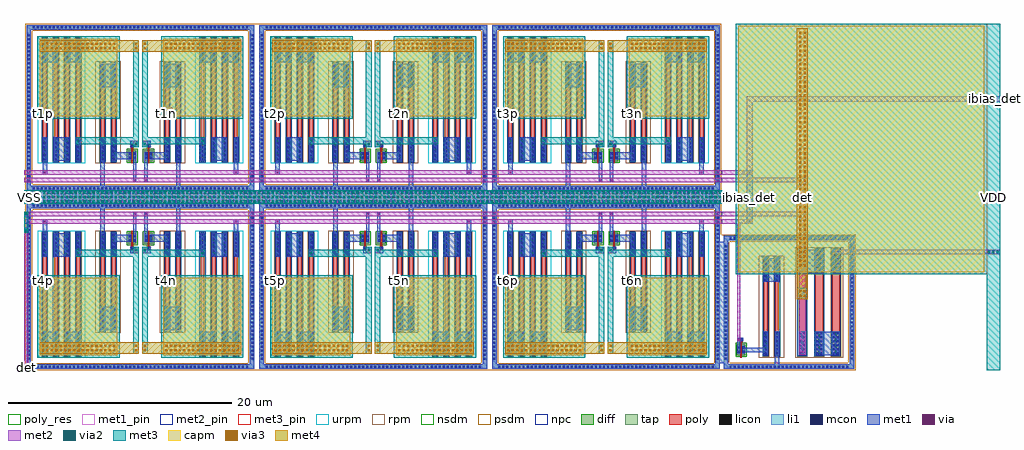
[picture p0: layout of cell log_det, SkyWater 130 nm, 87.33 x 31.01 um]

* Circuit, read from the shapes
.subckt log_det VDD VSS det ibias_det t1n t1p t2n t2p t3n t3p t4n t4p t5n t5p t6n t6p
XM1 det det_cell_1/gp det_cell_1/sp VSS sky130_fd_pr__nfet_01v8 w=1 l=0.15
XM2 det det_cell_0/gp det_cell_0/sp VSS sky130_fd_pr__nfet_01v8 w=1 l=0.15
XM3 det_cell_1/sn det_cell_1/gn det VSS sky130_fd_pr__nfet_01v8 w=1 l=0.15
XM4 det_cell_0/sn det_cell_0/gn det VSS sky130_fd_pr__nfet_01v8 w=1 l=0.15
XM5 det det_cell_3/gp det_cell_3/sp VSS sky130_fd_pr__nfet_01v8 w=1 l=0.15
XM6 det det_cell_2/gp det_cell_2/sp VSS sky130_fd_pr__nfet_01v8 w=1 l=0.15
XM7 det_cell_3/sn det_cell_3/gn det VSS sky130_fd_pr__nfet_01v8 w=1 l=0.15
XM8 det_cell_2/sn det_cell_2/gn det VSS sky130_fd_pr__nfet_01v8 w=1 l=0.15
XM9 det det_cell_5/gp det_cell_5/sp VSS sky130_fd_pr__nfet_01v8 w=1 l=0.15
XM10 det det_cell_4/gp det_cell_4/sp VSS sky130_fd_pr__nfet_01v8 w=1 l=0.15
XM11 det_cell_5/sn det_cell_5/gn det VSS sky130_fd_pr__nfet_01v8 w=1 l=0.15
XM12 det_cell_4/sn det_cell_4/gn det VSS sky130_fd_pr__nfet_01v8 w=1 l=0.15
XM13 n1 ibias_det ibias_det VSS sky130_fd_pr__nfet_01v8 w=1 l=0.15
XC14 det_cell_1/gp t4p sky130_fd_pr__cap_mim_m3_1 w=6.965 l=6.965
XC15 det_cell_0/gp t1p sky130_fd_pr__cap_mim_m3_1 w=6.965 l=6.965
XC16 det_cell_1/gn t4n sky130_fd_pr__cap_mim_m3_1 w=6.965 l=6.965
XC17 det_cell_0/gn t1n sky130_fd_pr__cap_mim_m3_1 w=6.965 l=6.965
XC18 det_cell_3/gp t5p sky130_fd_pr__cap_mim_m3_1 w=6.965 l=6.965
XC19 det_cell_2/gp t2p sky130_fd_pr__cap_mim_m3_1 w=6.965 l=6.965
XC20 det_cell_3/gn t5n sky130_fd_pr__cap_mim_m3_1 w=6.965 l=6.965
XC21 det_cell_2/gn t2n sky130_fd_pr__cap_mim_m3_1 w=6.965 l=6.965
XC22 det_cell_5/gp t6p sky130_fd_pr__cap_mim_m3_1 w=6.965 l=6.965
XC23 det_cell_4/gp t3p sky130_fd_pr__cap_mim_m3_1 w=6.965 l=6.965
XC24 det_cell_5/gn t6n sky130_fd_pr__cap_mim_m3_1 w=6.965 l=6.965
XC25 det_cell_4/gn t3n sky130_fd_pr__cap_mim_m3_1 w=6.965 l=6.965
XC26 det VDD sky130_fd_pr__cap_mim_m3_1 w=22.035 l=22.035
XR27 ibias_det n2 VSS sky130_fd_pr__res_xhigh_po w=0.35 l=6.66
XR28 n3 ibias_det VSS sky130_fd_pr__res_xhigh_po w=0.35 l=6.66
XR29 n4 n2 VSS sky130_fd_pr__res_xhigh_po w=0.35 l=6.66
XR30 n3 n5 VSS sky130_fd_pr__res_xhigh_po w=0.35 l=6.66
XR31 n4 n6 VSS sky130_fd_pr__res_xhigh_po w=0.35 l=6.66
XR32 n7 n5 VSS sky130_fd_pr__res_xhigh_po w=0.35 l=6.66
XR33 det_cell_1/gp n6 VSS sky130_fd_pr__res_xhigh_po w=0.35 l=6.66
XR34 n7 det_cell_0/gp VSS sky130_fd_pr__res_xhigh_po w=0.35 l=6.66
XR35 VSS n8 VSS sky130_fd_pr__res_high_po w=0.35 l=4.42
XR36 n9 VSS VSS sky130_fd_pr__res_high_po w=0.35 l=4.42
XR37 det_cell_1/sp n8 VSS sky130_fd_pr__res_high_po w=0.35 l=4.42
XR38 n9 det_cell_0/sp VSS sky130_fd_pr__res_high_po w=0.35 l=4.42
XR39 det_cell_1/sn n10 VSS sky130_fd_pr__res_high_po w=0.35 l=4.42
XR40 n11 det_cell_0/sn VSS sky130_fd_pr__res_high_po w=0.35 l=4.42
XR41 VSS n10 VSS sky130_fd_pr__res_high_po w=0.35 l=4.42
XR42 n11 VSS VSS sky130_fd_pr__res_high_po w=0.35 l=4.42
XR43 det_cell_1/gn n12 VSS sky130_fd_pr__res_xhigh_po w=0.35 l=6.66
XR44 n13 det_cell_0/gn VSS sky130_fd_pr__res_xhigh_po w=0.35 l=6.66
XR45 n14 n12 VSS sky130_fd_pr__res_xhigh_po w=0.35 l=6.66
XR46 n13 n15 VSS sky130_fd_pr__res_xhigh_po w=0.35 l=6.66
XR47 n14 n16 VSS sky130_fd_pr__res_xhigh_po w=0.35 l=6.66
XR48 n17 n15 VSS sky130_fd_pr__res_xhigh_po w=0.35 l=6.66
XR49 ibias_det n16 VSS sky130_fd_pr__res_xhigh_po w=0.35 l=6.66
XR50 n17 ibias_det VSS sky130_fd_pr__res_xhigh_po w=0.35 l=6.66
XR51 ibias_det n18 VSS sky130_fd_pr__res_xhigh_po w=0.35 l=6.66
XR52 n19 ibias_det VSS sky130_fd_pr__res_xhigh_po w=0.35 l=6.66
XR53 n20 n18 VSS sky130_fd_pr__res_xhigh_po w=0.35 l=6.66
XR54 n19 n21 VSS sky130_fd_pr__res_xhigh_po w=0.35 l=6.66
XR55 n20 n22 VSS sky130_fd_pr__res_xhigh_po w=0.35 l=6.66
XR56 n23 n21 VSS sky130_fd_pr__res_xhigh_po w=0.35 l=6.66
XR57 det_cell_3/gp n22 VSS sky130_fd_pr__res_xhigh_po w=0.35 l=6.66
XR58 n23 det_cell_2/gp VSS sky130_fd_pr__res_xhigh_po w=0.35 l=6.66
XR59 VSS n24 VSS sky130_fd_pr__res_high_po w=0.35 l=4.42
XR60 n25 VSS VSS sky130_fd_pr__res_high_po w=0.35 l=4.42
XR61 det_cell_3/sp n24 VSS sky130_fd_pr__res_high_po w=0.35 l=4.42
XR62 n25 det_cell_2/sp VSS sky130_fd_pr__res_high_po w=0.35 l=4.42
XR63 det_cell_3/sn n26 VSS sky130_fd_pr__res_high_po w=0.35 l=4.42
XR64 n27 det_cell_2/sn VSS sky130_fd_pr__res_high_po w=0.35 l=4.42
XR65 VSS n26 VSS sky130_fd_pr__res_high_po w=0.35 l=4.42
XR66 n27 VSS VSS sky130_fd_pr__res_high_po w=0.35 l=4.42
XR67 det_cell_3/gn n28 VSS sky130_fd_pr__res_xhigh_po w=0.35 l=6.66
XR68 n29 det_cell_2/gn VSS sky130_fd_pr__res_xhigh_po w=0.35 l=6.66
XR69 n30 n28 VSS sky130_fd_pr__res_xhigh_po w=0.35 l=6.66
XR70 n29 n31 VSS sky130_fd_pr__res_xhigh_po w=0.35 l=6.66
XR71 n30 n32 VSS sky130_fd_pr__res_xhigh_po w=0.35 l=6.66
XR72 n33 n31 VSS sky130_fd_pr__res_xhigh_po w=0.35 l=6.66
XR73 ibias_det n32 VSS sky130_fd_pr__res_xhigh_po w=0.35 l=6.66
XR74 n33 ibias_det VSS sky130_fd_pr__res_xhigh_po w=0.35 l=6.66
XR75 ibias_det n34 VSS sky130_fd_pr__res_xhigh_po w=0.35 l=6.66
XR76 n35 ibias_det VSS sky130_fd_pr__res_xhigh_po w=0.35 l=6.66
XR77 n36 n34 VSS sky130_fd_pr__res_xhigh_po w=0.35 l=6.66
XR78 n35 n37 VSS sky130_fd_pr__res_xhigh_po w=0.35 l=6.66
XR79 n36 n38 VSS sky130_fd_pr__res_xhigh_po w=0.35 l=6.66
XR80 n39 n37 VSS sky130_fd_pr__res_xhigh_po w=0.35 l=6.66
XR81 det_cell_5/gp n38 VSS sky130_fd_pr__res_xhigh_po w=0.35 l=6.66
XR82 n39 det_cell_4/gp VSS sky130_fd_pr__res_xhigh_po w=0.35 l=6.66
XR83 VSS n40 VSS sky130_fd_pr__res_high_po w=0.35 l=4.42
XR84 n41 VSS VSS sky130_fd_pr__res_high_po w=0.35 l=4.42
XR85 det_cell_5/sp n40 VSS sky130_fd_pr__res_high_po w=0.35 l=4.42
XR86 n41 det_cell_4/sp VSS sky130_fd_pr__res_high_po w=0.35 l=4.42
XR87 det_cell_5/sn n42 VSS sky130_fd_pr__res_high_po w=0.35 l=4.42
XR88 n43 det_cell_4/sn VSS sky130_fd_pr__res_high_po w=0.35 l=4.42
XR89 VSS n42 VSS sky130_fd_pr__res_high_po w=0.35 l=4.42
XR90 n43 VSS VSS sky130_fd_pr__res_high_po w=0.35 l=4.42
XR91 det_cell_5/gn n44 VSS sky130_fd_pr__res_xhigh_po w=0.35 l=6.66
XR92 n45 det_cell_4/gn VSS sky130_fd_pr__res_xhigh_po w=0.35 l=6.66
XR93 n46 n44 VSS sky130_fd_pr__res_xhigh_po w=0.35 l=6.66
XR94 n45 n47 VSS sky130_fd_pr__res_xhigh_po w=0.35 l=6.66
XR95 n46 n48 VSS sky130_fd_pr__res_xhigh_po w=0.35 l=6.66
XR96 n49 n47 VSS sky130_fd_pr__res_xhigh_po w=0.35 l=6.66
XR97 ibias_det n48 VSS sky130_fd_pr__res_xhigh_po w=0.35 l=6.66
XR98 n49 ibias_det VSS sky130_fd_pr__res_xhigh_po w=0.35 l=6.66
XR99 n50 n1 VSS sky130_fd_pr__res_high_po w=0.35 l=4.42
XR100 n50 VSS VSS sky130_fd_pr__res_high_po w=0.35 l=4.42
XR101 n51 det VSS sky130_fd_pr__res_high_po w=0.69 l=5.17
XR102 n51 n52 VSS sky130_fd_pr__res_high_po w=0.69 l=5.17
XR103 VDD n52 VSS sky130_fd_pr__res_high_po w=0.69 l=5.17
.ends

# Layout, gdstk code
import gdstk
lib = gdstk.Library(unit=1e-6, precision=1e-09)
def R(c, l, rs):  # rectangles x0, y0, x1, y1
    for r in rs: c.add(gdstk.rectangle(r[:2], r[2:], *l))
def A(c, l, x, y, w, h, nx, ny, dx, dy):  # array of equal rectangles
    R(c, l, [(x+i*dx, y+j*dy, x+i*dx+w, y+j*dy+h) for i in range(nx) for j in range(ny)])
def P(c, l, *ps):  # polygons
    for p in ps: c.add(gdstk.Polygon(p, *l))
diff = (65, 20)
tap = (65, 44)
poly_res = (66, 13)
poly = (66, 20)
licon = (66, 44)
li1 = (67, 20)
mcon = (67, 44)
met1_pin = (68, 16)
met1 = (68, 20)
via = (68, 44)
met2_pin = (69, 16)
met2 = (69, 20)
via2 = (69, 44)
met3_pin = (70, 16)
met3 = (70, 20)
via3 = (70, 44)
met4 = (71, 20)
urpm = (79, 20)
rpm = (86, 20)
capm = (89, 44)
nsdm = (93, 44)
psdm = (94, 20)
npc = (95, 20)

res_poly = lib.new_cell('res_poly')
R(res_poly, poly_res, [(-0.175,-3.39,0.175,3.39)])
R(res_poly, poly, [(-0.175,-5.49,0.175,5.49)])
R(res_poly, licon, [(-0.095,-5.41,0.095,-3.41), (-0.095,3.41,0.095,5.41)])
R(res_poly, li1, [(-0.175,-5.49,0.175,-3.33), (-0.175,3.33,0.175,5.49)])
A(res_poly, mcon, -0.085, -5.39, 0.17, 0.17, 1, 6, 0, 0.36)
A(res_poly, mcon, -0.085, 3.425, 0.17, 0.17, 1, 6, 0, 0.36)
R(res_poly, met1, [(-0.125,-5.455,0.125,-3.355), (-0.125,3.355,0.125,5.455)])
R(res_poly, urpm, [(-0.635,-5.69,0.635,5.69)])
R(res_poly, psdm, [(-0.285,-5.6,0.285,5.6)])
R(res_poly, npc, [(-0.27,-5.58,0.27,5.58)])

res_poly_1 = lib.new_cell('res_poly$1')
R(res_poly_1, poly_res, [(-0.175,-2.27,0.175,2.27)])
R(res_poly_1, poly, [(-0.175,-4.37,0.175,4.37)])
R(res_poly_1, licon, [(-0.095,-4.29,0.095,-2.29), (-0.095,2.29,0.095,4.29)])
R(res_poly_1, li1, [(-0.175,-4.37,0.175,-2.21), (-0.175,2.21,0.175,4.37)])
A(res_poly_1, mcon, -0.085, -4.27, 0.17, 0.17, 1, 6, 0, 0.36)
A(res_poly_1, mcon, -0.085, 2.305, 0.17, 0.17, 1, 6, 0, 0.36)
R(res_poly_1, met1, [(-0.125,-4.34,0.125,-2.235), (-0.125,2.235,0.125,4.34)])
R(res_poly_1, rpm, [(-0.635,-4.57,0.635,4.57)])
R(res_poly_1, psdm, [(-0.285,-4.48,0.285,4.48)])
R(res_poly_1, npc, [(-0.27,-4.465,0.27,4.465)])

nfet = lib.new_cell('nfet')
R(nfet, diff, [(0,0,0.75,1)])
R(nfet, poly, [(0.3,-0.2,0.45,1.2), (0.24,1.2,0.51,1.53)])
R(nfet, licon, [(0.065,0.235,0.235,0.405), (0.515,0.235,0.685,0.405), (0.065,0.595,0.235,0.765), (0.515,0.595,0.685,0.765), (0.29,1.28,0.46,1.45)])
R(nfet, li1, [(0.065,0.155,0.235,0.845), (0.515,0.155,0.685,0.845), (0.21,1.28,0.54,1.45)])
R(nfet, mcon, [(0.065,0.235,0.235,0.405), (0.515,0.235,0.685,0.405), (0.065,0.595,0.235,0.765), (0.515,0.595,0.685,0.765), (0.29,1.28,0.46,1.45)])
R(nfet, met1, [(0.035,0.175,0.265,0.825), (0.485,0.175,0.715,0.825), (0.19,1.25,0.56,1.48)])
R(nfet, nsdm, [(-0.125,-0.125,0.875,1.125)])
R(nfet, npc, [(0.23,1.19,0.52,1.54)])

det_cell = lib.new_cell('det_cell')
P(det_cell, tap, [(0.225,1.2),(0.225,15.58),(0.625,15.58),(0.625,1.6),(20.205,1.6),(20.205,15.58),(0.225,15.58),(0.225,15.98),(20.605,15.98),(20.605,1.2)])
A(det_cell, licon, 0.79, 1.315, 0.17, 0.17, 54, 2, 0.36, 14.38)
A(det_cell, licon, 0.34, 2.025, 0.17, 0.17, 1, 37, 0, 0.36)
A(det_cell, licon, 20.32, 2.025, 0.17, 0.17, 1, 37, 0, 0.36)
P(det_cell, li1, [(0.225,1.2),(0.225,15.58),(0.625,15.58),(0.625,1.6),(20.205,1.6),(20.205,15.58),(0.225,15.58),(0.225,15.98),(20.605,15.98),(20.605,1.2)])
A(det_cell, mcon, 0.79, 1.315, 0.17, 0.17, 54, 2, 0.36, 14.38)
A(det_cell, mcon, 0.34, 2.025, 0.17, 0.17, 1, 37, 0, 0.36)
A(det_cell, mcon, 20.32, 2.025, 0.17, 0.17, 1, 37, 0, 0.36)
R(det_cell, met1_pin, [(0,0,1,1.2)])
A(det_cell, met1, 1.66, 3.835, 0.4, 2.1, 4, 2, 1, 8.81)
A(det_cell, met1, 15.77, 3.835, 0.4, 2.1, 4, 2, 1, 8.81)
R(det_cell, met1, [(0,0,20.83,1.2), (0.225,1.19,20.605,1.6), (6.83,1.59,7.23,5.935), (13.6,1.59,14,5.935), (9.77,1.9,10.06,4.625), (10.77,1.9,11.06,4.625), (1.66,2.6,2.06,5.935), (18.77,2.6,19.17,5.935), (6.83,3.83,7.23,5.935), (7.83,3.83,8.23,5.935), (12.6,3.83,13,5.935), (13.6,3.83,14,5.935), (2.66,3.835,4.06,5.935), (16.77,3.835,18.17,5.935), (7.83,3.975,9.58,4.625), (11.25,3.975,13,4.625), (9.505,5.05,10.265,5.65), (10.565,5.05,11.325,5.65), (6.83,10.405,7.23,12.51), (6.83,10.405,8.23,12.51), (7.83,10.405,8.23,12.51), (12.6,10.405,13,12.51), (12.6,10.405,14,12.51), (13.6,10.405,14,12.51), (1.66,12.645,3.06,14.745), (3.66,12.645,5.06,14.745), (15.77,12.645,17.17,14.745), (17.77,12.645,19.17,14.745)])
P(det_cell, met1, [(0.225,1.2),(0.225,15.58),(0.625,15.58),(0.625,1.6),(20.205,1.6),(20.205,15.58),(0.225,15.58),(0.225,15.98),(20.605,15.98),(20.605,1.2)])
A(det_cell, via, 0.1, 0.205, 0.15, 0.15, 65, 3, 0.32, 0.32)
R(det_cell, via, [(9.84,2.025,9.99,2.175), (10.84,2.025,10.99,2.175), (1.785,2.725,1.935,2.875), (18.895,2.725,19.045,2.875), (9.94,5.275,10.09,5.425), (10.74,5.275,10.89,5.425), (4.785,5.56,4.935,5.71), (15.895,5.56,16.045,5.71)])
R(det_cell, met2_pin, [(0,1.9,0.5,2.3), (20.33,1.9,20.83,2.3), (0,2.6,0.5,3), (20.33,2.6,20.83,3)])
R(det_cell, met2, [(0,0,20.83,1.2), (0,1.9,20.83,2.3), (0,2.6,20.83,3), (9.765,5.05,10.265,5.65), (10.565,5.05,11.065,5.65), (4.61,5.335,5.11,5.935), (15.72,5.335,16.22,5.935)])
A(det_cell, via2, 0.115, 0.1, 0.2, 0.2, 52, 3, 0.4, 0.4)
R(det_cell, via2, [(9.915,5.25,10.115,5.45), (10.715,5.25,10.915,5.45), (4.76,5.535,4.96,5.735), (15.87,5.535,16.07,5.735)])
R(det_cell, met3_pin, [(1.2,7.615,2.2,8.615), (12.265,7.615,13.265,8.615)])
R(det_cell, met3, [(0,0,20.83,1.2), (9.765,5.05,10.265,14.64), (10.565,5.05,11.065,14.64), (4.61,5.335,10.265,5.935), (10.565,5.335,16.22,5.935), (1.2,7.615,8.565,14.98), (12.265,7.615,19.63,14.98)])
A(det_cell, via3, 1.58, 13.81, 0.2, 0.2, 17, 2, 0.4, 0.4)
A(det_cell, via3, 12.645, 13.81, 0.2, 0.2, 17, 2, 0.4, 0.4)
R(det_cell, via3, [(9.915,13.81,10.115,14.01), (10.715,13.81,10.915,14.01), (9.915,14.21,10.115,14.41), (10.715,14.21,10.915,14.41)])
R(det_cell, met4, [(1.4,13.58,10.265,14.64), (10.565,13.58,19.43,14.64)])
R(det_cell, capm, [(1.4,7.815,8.365,14.78), (12.465,7.815,19.43,14.78)])
P(det_cell, psdm, [(0.1,1.075),(0.1,15.455),(0.75,15.455),(0.75,1.725),(20.08,1.725),(20.08,15.455),(0.1,15.455),(0.1,16.105),(20.73,16.105),(20.73,1.075)])
det_cell.add(gdstk.Reference(res_poly, (1.86,9.29)))
det_cell.add(gdstk.Reference(res_poly, (2.86,9.29)))
det_cell.add(gdstk.Reference(res_poly, (3.86,9.29)))
det_cell.add(gdstk.Reference(res_poly, (4.86,9.29)))
det_cell.add(gdstk.Reference(res_poly, (15.97,9.29)))
det_cell.add(gdstk.Reference(res_poly, (16.97,9.29)))
det_cell.add(gdstk.Reference(res_poly, (17.97,9.29)))
det_cell.add(gdstk.Reference(res_poly, (18.97,9.29)))
det_cell.add(gdstk.Reference(res_poly_1, (7.03,8.17)))
det_cell.add(gdstk.Reference(res_poly_1, (8.03,8.17)))
det_cell.add(gdstk.Reference(res_poly_1, (12.8,8.17)))
det_cell.add(gdstk.Reference(res_poly_1, (13.8,8.17)))
det_cell.add(gdstk.Reference(nfet, (9.315,3.8)))
det_cell.add(gdstk.Reference(nfet, (10.765,3.8)))
det_cell.add(gdstk.Label('out', (0.25,2.1), layer=69, texttype=5))
det_cell.add(gdstk.Label('out', (20.58,2.1), layer=69, texttype=5))
det_cell.add(gdstk.Label('vb', (0.25,2.8), layer=69, texttype=5))
det_cell.add(gdstk.Label('vb', (20.58,2.8), layer=69, texttype=5))
det_cell.add(gdstk.Label('VSS', (0.5,0.6), layer=68, texttype=5))
det_cell.add(gdstk.Label('sp', (8.705,4.3), layer=68, texttype=5))
det_cell.add(gdstk.Label('sn', (12.125,4.3), layer=68, texttype=5))
det_cell.add(gdstk.Label('gp', (7.438,5.635), layer=70, texttype=5))
det_cell.add(gdstk.Label('inp', (1.7,8.115), layer=70, texttype=5))
det_cell.add(gdstk.Label('gn', (13.392,5.635), layer=70, texttype=5))
det_cell.add(gdstk.Label('inn', (12.765,8.115), layer=70, texttype=5))

nfet_1 = lib.new_cell('nfet$1')
R(nfet_1, diff, [(0,0,0.75,1)])
R(nfet_1, poly, [(0.3,-0.2,0.45,1.2), (0.24,1.2,0.51,1.53)])
R(nfet_1, licon, [(0.065,0.235,0.235,0.405), (0.515,0.235,0.685,0.405), (0.065,0.595,0.235,0.765), (0.515,0.595,0.685,0.765), (0.29,1.28,0.46,1.45)])
R(nfet_1, li1, [(0.065,0.155,0.235,0.845), (0.515,0.155,0.685,0.845), (0.21,1.28,0.54,1.45)])
R(nfet_1, mcon, [(0.065,0.235,0.235,0.405), (0.515,0.235,0.685,0.405), (0.065,0.595,0.235,0.765), (0.515,0.595,0.685,0.765), (0.29,1.28,0.46,1.45)])
R(nfet_1, met1, [(0.035,0.175,0.265,0.825), (0.485,0.175,0.715,0.825), (0.19,1.25,0.56,1.48)])
R(nfet_1, nsdm, [(-0.125,-0.125,0.875,1.125)])
R(nfet_1, npc, [(0.23,1.19,0.52,1.54)])

res_poly_2 = lib.new_cell('res_poly$2')
R(res_poly_2, poly_res, [(-0.175,-2.27,0.175,2.27)])
R(res_poly_2, poly, [(-0.175,-4.37,0.175,4.37)])
R(res_poly_2, licon, [(-0.095,-4.29,0.095,-2.29), (-0.095,2.29,0.095,4.29)])
R(res_poly_2, li1, [(-0.175,-4.37,0.175,-2.21), (-0.175,2.21,0.175,4.37)])
A(res_poly_2, mcon, -0.085, -4.27, 0.17, 0.17, 1, 6, 0, 0.36)
A(res_poly_2, mcon, -0.085, 2.305, 0.17, 0.17, 1, 6, 0, 0.36)
R(res_poly_2, met1, [(-0.125,-4.34,0.125,-2.235), (-0.125,2.235,0.125,4.34)])
R(res_poly_2, rpm, [(-0.635,-4.57,0.635,4.57)])
R(res_poly_2, psdm, [(-0.285,-4.48,0.285,4.48)])
R(res_poly_2, npc, [(-0.27,-4.465,0.27,4.465)])

res_poly_3 = lib.new_cell('res_poly$3')
R(res_poly_3, poly_res, [(-0.345,-2.645,0.345,2.645)])
R(res_poly_3, poly, [(-0.345,-4.745,0.345,4.745)])
R(res_poly_3, licon, [(-0.095,-4.665,0.095,-2.665), (-0.095,2.665,0.095,4.665)])
R(res_poly_3, li1, [(-0.345,-4.745,0.345,-2.585), (-0.345,2.585,0.345,4.745)])
A(res_poly_3, mcon, -0.265, -4.645, 0.17, 0.17, 1, 6, 0, 0.36)
A(res_poly_3, mcon, 0.095, -4.645, 0.17, 0.17, 1, 6, 0, 0.36)
A(res_poly_3, mcon, -0.265, 2.68, 0.17, 0.17, 1, 6, 0, 0.36)
A(res_poly_3, mcon, 0.095, 2.68, 0.17, 0.17, 1, 6, 0, 0.36)
R(res_poly_3, met1, [(-0.295,-4.715,0.295,-2.61), (-0.295,2.61,0.295,4.715)])
R(res_poly_3, rpm, [(-0.635,-4.945,0.635,4.945)])
R(res_poly_3, psdm, [(-0.455,-4.855,0.455,4.855)])
R(res_poly_3, npc, [(-0.44,-4.84,0.44,4.84)])

log_det = lib.new_cell('log_det')
P(log_det, tap, [(62.59,0.13),(62.59,11.62),(62.99,11.62),(62.99,0.53),(73.88,0.53),(73.88,11.62),(62.59,11.62),(62.59,12.02),(74.28,12.02),(74.28,0.13)])
A(log_det, licon, 63.13, 0.245, 0.17, 0.17, 30, 2, 0.36, 11.49)
A(log_det, licon, 62.705, 0.95, 0.17, 0.17, 1, 29, 0, 0.36)
A(log_det, licon, 73.995, 0.95, 0.17, 0.17, 1, 29, 0, 0.36)
P(log_det, li1, [(62.59,0.13),(62.59,11.62),(62.99,11.62),(62.99,0.53),(73.88,0.53),(73.88,11.62),(62.59,11.62),(62.59,12.02),(74.28,12.02),(74.28,0.13)])
A(log_det, mcon, 63.13, 0.245, 0.17, 0.17, 30, 2, 0.36, 11.49)
A(log_det, mcon, 62.705, 0.95, 0.17, 0.17, 1, 29, 0, 0.36)
A(log_det, mcon, 73.995, 0.95, 0.17, 0.17, 1, 29, 0, 0.36)
A(log_det, met1, 69.345, 1.36, 0.6, 2.105, 3, 2, 1.5, 7.325)
R(log_det, met1, [(67.175,0.52,67.575,3.465), (62.19,0.63,62.79,11.52), (66.175,1.36,66.575,3.465), (66.175,1.36,66.575,2.03), (67.175,1.36,67.575,3.465), (70.845,1.36,72.945,3.465), (63.795,1.505,64.085,2.9), (64.275,1.63,66.575,2.03), (63.795,2.58,64.35,2.9), (66.175,7.935,66.575,10.04), (66.175,7.935,67.575,10.04), (67.175,7.935,67.575,10.04), (69.345,8.685,71.445,10.79), (64.685,13.105,65.185,17.905)])
P(log_det, met1, [(62.59,0.13),(62.59,11.62),(62.99,11.62),(62.99,0.53),(73.88,0.53),(73.88,11.62),(62.59,11.62),(62.59,12.02),(74.28,12.02),(74.28,0.13)])
R(log_det, via, [(69.57,1.585,69.72,1.735), (63.865,2.665,64.015,2.815), (72.57,10.515,72.72,10.665), (64.86,13.23,65.01,13.38), (64.86,17.63,65.01,17.78)])
R(log_det, met2_pin, [(0,0,0.4,0.5), (86.825,24.04,87.325,24.54)])
R(log_det, met2, [(0,0,0.4,12.805), (69.345,1.36,69.945,17.205), (63.795,2.58,64.085,13.505), (69.145,6.375,70.145,7.375), (72.345,10.39,87.325,10.79), (62.49,13.105,65.185,13.505), (62.49,13.805,69.945,14.205), (62.49,16.805,69.945,17.205), (62.49,17.505,65.185,17.905), (64.685,17.505,65.185,24.54), (64.685,24.04,87.325,24.54)])
A(log_det, via2, 86.225, 10.49, 0.2, 0.2, 3, 1, 0.4, 0)
R(log_det, via2, [(69.345,6.575,69.545,6.775), (69.745,6.575,69.945,6.775), (69.345,6.975,69.545,7.175), (69.745,6.975,69.945,7.175), (0.1,12.455,0.3,12.655), (0.1,13.905,0.3,14.105)])
R(log_det, met3_pin, [(86.125,0,87.325,31.01), (1.2,7.49,2.2,8.49), (12.265,7.49,13.265,8.49), (22.03,7.49,23.03,8.49), (33.095,7.49,34.095,8.49), (42.86,7.49,43.86,8.49), (53.925,7.49,54.925,8.49), (0,14.905,1,16.105), (1.2,22.52,2.2,23.52), (12.265,22.52,13.265,23.52), (22.03,22.52,23.03,23.52), (33.095,22.52,34.095,23.52), (42.86,22.52,43.86,23.52), (53.925,22.52,54.925,23.52)])
R(log_det, met3, [(86.125,0,87.325,31.01), (69.145,6.375,70.145,7.375), (63.69,8.575,86.125,31.01), (0,12.305,0.4,14.205)])
A(log_det, via3, 69.345, 9.29, 0.2, 0.2, 1, 53, 0, 0.4)
A(log_det, via3, 69.745, 9.29, 0.2, 0.2, 1, 53, 0, 0.4)
R(log_det, via3, [(69.345,6.575,69.545,6.775), (69.745,6.575,69.945,6.775), (69.345,6.975,69.545,7.175), (69.745,6.975,69.945,7.175)])
R(log_det, met4, [(69.145,6.375,70.145,30.61), (69.145,6.375,70.145,7.375)])
R(log_det, rpm, [(69.01,1.13,73.28,11.02)])
R(log_det, capm, [(63.89,8.775,85.925,30.81)])
R(log_det, psdm, [(20.63,0,21.03,15.03), (41.46,0,41.86,15.03), (62.29,0.005,62.59,12.145), (20.63,15.98,21.03,31.01), (41.46,15.98,41.86,31.01)])
P(log_det, psdm, [(62.465,0.005),(62.465,11.495),(63.115,11.495),(63.115,0.655),(73.755,0.655),(73.755,11.495),(62.465,11.495),(62.465,12.145),(74.405,12.145),(74.405,0.005)])
log_det.add(gdstk.Reference(det_cell, (0,14.905)))
log_det.add(gdstk.Reference(det_cell, (0,16.105), x_reflection=True))
log_det.add(gdstk.Reference(det_cell, (20.83,14.905)))
log_det.add(gdstk.Reference(det_cell, (20.83,16.105), x_reflection=True))
log_det.add(gdstk.Reference(det_cell, (41.66,14.905)))
log_det.add(gdstk.Reference(det_cell, (41.66,16.105), x_reflection=True))
log_det.add(gdstk.Reference(nfet_1, (63.79,1.33)))
log_det.add(gdstk.Reference(res_poly_2, (66.375,5.7)))
log_det.add(gdstk.Reference(res_poly_2, (67.375,5.7)))
log_det.add(gdstk.Reference(res_poly_3, (69.645,6.075)))
log_det.add(gdstk.Reference(res_poly_3, (71.145,6.075)))
log_det.add(gdstk.Reference(res_poly_3, (72.645,6.075)))
log_det.add(gdstk.Label('det', (69.645,15.505), layer=69, texttype=5))
log_det.add(gdstk.Label('det', (0.2,0.25), layer=69, texttype=5))
log_det.add(gdstk.Label('ibias_det', (87.075,24.29), layer=69, texttype=5))
log_det.add(gdstk.Label('ibias_det', (64.935,15.505), layer=68, texttype=5))
log_det.add(gdstk.Label('t1p', (1.7,23.02), layer=70, texttype=5))
log_det.add(gdstk.Label('t4p', (1.7,7.99), layer=70, texttype=5))
log_det.add(gdstk.Label('t1n', (12.765,23.02), layer=70, texttype=5))
log_det.add(gdstk.Label('t4n', (12.765,7.99), layer=70, texttype=5))
log_det.add(gdstk.Label('t2p', (22.53,23.02), layer=70, texttype=5))
log_det.add(gdstk.Label('t5p', (22.53,7.99), layer=70, texttype=5))
log_det.add(gdstk.Label('t2n', (33.595,23.02), layer=70, texttype=5))
log_det.add(gdstk.Label('t5n', (33.595,7.99), layer=70, texttype=5))
log_det.add(gdstk.Label('t3p', (43.36,23.02), layer=70, texttype=5))
log_det.add(gdstk.Label('t6p', (43.36,7.99), layer=70, texttype=5))
log_det.add(gdstk.Label('t3n', (54.425,23.02), layer=70, texttype=5))
log_det.add(gdstk.Label('t6n', (54.425,7.99), layer=70, texttype=5))
log_det.add(gdstk.Label('VDD', (86.725,15.505), layer=70, texttype=5))
log_det.add(gdstk.Label('VSS', (0.5,15.505), layer=70, texttype=5))

lib.write_gds('log_det.gds')
